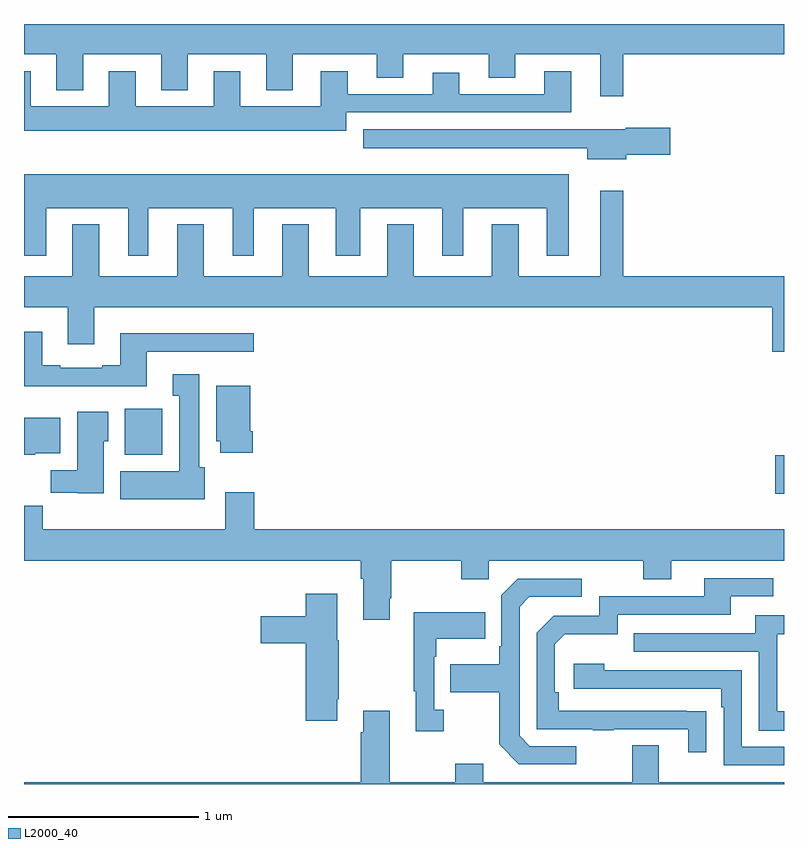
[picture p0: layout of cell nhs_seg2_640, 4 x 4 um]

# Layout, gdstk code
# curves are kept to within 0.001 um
import gdstk
lib = gdstk.Library(unit=1e-6, precision=1e-09)
def R(c, l, rs):  # rectangles x0, y0, x1, y1
    for r in rs: c.add(gdstk.rectangle(r[:2], r[2:], *l))
def P(c, l, *ps):  # polygons
    for p in ps: c.add(gdstk.Polygon(p, *l))
L2000_40 = (2000, 40)

nhs_seg2_640 = lib.new_cell('nhs_seg2_640')
R(nhs_seg2_640, L2000_40, [(146.953,641.328,147,641.531), (143.531,641.534,143.728,641.776)])
P(nhs_seg2_640, L2000_40, [(146.155,643.64),(147,643.64),(147,643.8),(143,643.8),(143,643.64),(143.171,643.64),(143.171,643.451),(143.311,643.451),(143.311,643.64),(143.723,643.64),(143.723,643.451),(143.863,643.451),(143.863,643.64),(144.275,643.64),(144.275,643.451),(144.415,643.451),(144.415,643.64),(144.857,643.64),(144.857,643.516),(144.997,643.516),(144.997,643.64),(145.445,643.64),(145.445,643.516),(145.585,643.516),(145.585,643.64),(146.033,643.64),(146.033,643.419),(146.155,643.419)],
  [(144.697,643.335),(145.879,643.335),(145.879,643.552),(145.739,643.552),(145.739,643.431),(145.291,643.431),(145.291,643.543),(145.151,643.543),(145.151,643.431),(144.703,643.431),(144.703,643.552),(144.563,643.552),(144.563,643.366),(144.139,643.366),(144.139,643.552),(143.999,643.552),(143.999,643.366),(143.587,643.366),(143.587,643.552),(143.447,643.552),(143.447,643.366),(143.035,643.366),(143.035,643.552),(143,643.552),(143,643.238),(144.697,643.238)],
  [(146.17,643.112),(146.401,643.112),(146.401,643.254),(146.166,643.254),(146.166,643.246),(144.786,643.246),(144.786,643.145),(145.964,643.145),(145.964,643.088),(146.17,643.088)],
  [(143.116,642.83),(143.549,642.83),(143.549,642.579),(143.653,642.579),(143.653,642.83),(144.098,642.83),(144.098,642.579),(144.208,642.579),(144.208,642.83),(144.641,642.83),(144.641,642.579),(144.769,642.579),(144.769,642.83),(145.202,642.83),(145.202,642.579),(145.312,642.579),(145.312,642.83),(145.751,642.83),(145.751,642.579),(145.867,642.579),(145.867,643.009),(143,643.009),(143,642.579),(143.116,642.579)],
  [(147,642.472),(146.155,642.472),(146.155,642.922),(146.033,642.922),(146.033,642.472),(145.603,642.472),(145.603,642.745),(145.463,642.745),(145.463,642.472),(145.051,642.472),(145.051,642.745),(144.911,642.745),(144.911,642.472),(144.499,642.472),(144.499,642.745),(144.359,642.745),(144.359,642.472),(143.947,642.472),(143.947,642.745),(143.807,642.745),(143.807,642.472),(143.395,642.472),(143.395,642.745),(143.255,642.745),(143.255,642.472),(143,642.472),(143,642.308),(143.231,642.308),(143.231,642.114),(143.371,642.114),(143.371,642.308),(146.939,642.308),(146.939,642.075),(147,642.075)],
  [(143.647,642.075),(144.208,642.075),(144.208,642.172),(143.507,642.172),(143.507,642.004),(143.411,642.004),(143.411,641.991),(143.191,641.991),(143.191,642.004),(143.095,642.004),(143.095,642.181),(143,642.181),(143,641.894),(143.647,641.894)],
  [(143.95,641.466),(143.923,641.466),(143.923,641.956),(143.783,641.956),(143.783,641.843),(143.816,641.843),(143.816,641.446),(143.507,641.446),(143.507,641.3),(143.95,641.3)],
  [(144.203,641.656),(144.19,641.656),(144.19,641.896),(144.011,641.896),(144.011,641.604),(144.032,641.604),(144.032,641.544),(144.203,641.544)],
  [(143.419,641.604),(143.443,641.604),(143.443,641.758),(143.279,641.758),(143.279,641.452),(143.14,641.452),(143.14,641.334),(143.283,641.334),(143.283,641.33),(143.419,641.33)],
  [(143.058,641.54),(143.191,641.54),(143.191,641.728),(143,641.728),(143,641.534),(143.058,641.534)],
  [(144.212,641.335),(144.059,641.335),(144.059,641.14),(143.099,641.14),(143.099,641.264),(143,641.264),(143,640.976),(144.773,640.976),(144.773,640.88),(144.785,640.88),(144.785,640.665),(144.925,640.665),(144.925,640.777),(144.933,640.777),(144.933,640.976),(145.3,640.976),(145.3,640.877),(145.446,640.877),(145.446,640.976),(146.26,640.976),(146.26,640.877),(146.407,640.877),(146.407,640.976),(147,640.976),(147,641.14),(144.212,641.14)],
  [(146.591,640.184),(145.814,640.185),(145.814,640.282),(145.794,640.282),(145.794,640.536),(145.847,640.589),(146.124,640.589),(146.124,640.692),(146.719,640.692),(146.719,640.788),(146.944,640.788),(146.944,640.884),(146.579,640.884),(146.579,640.788),(146.028,640.788),(146.028,640.686),(145.788,640.686),(145.698,640.596),(145.698,640.089),(145.993,640.089),(145.993,640.084),(146.105,640.084),(146.105,640.089),(146.495,640.089),(146.495,639.966),(146.591,639.966)],
  [(145.906,639.999),(145.662,639.999),(145.608,640.053),(145.608,640.734),(145.659,640.785),(145.936,640.785),(145.936,640.881),(145.599,640.881),(145.512,640.794),(145.512,640.525),(145.5,640.525),(145.5,640.429),(145.243,640.429),(145.243,640.282),(145.5,640.282),(145.5,640.009),(145.605,639.903),(145.906,639.903)],
  [(144.649,640.246),(144.657,640.246),(144.657,640.557),(144.649,640.557),(144.649,640.801),(144.482,640.801),(144.482,640.683),(144.246,640.683),(144.246,640.541),(144.482,640.541),(144.482,640.134),(144.649,640.134)],
  [(145.21,640.19),(145.158,640.19),(145.158,640.469),(145.171,640.469),(145.171,640.565),(145.427,640.565),(145.427,640.705),(145.05,640.705),(145.05,640.289),(145.061,640.289),(145.061,640.077),(145.21,640.077)],
  [(147,640.182),(146.964,640.182),(146.964,640.587),(147,640.587),(147,640.687),(146.849,640.687),(146.849,640.593),(146.209,640.593),(146.209,640.497),(146.868,640.497),(146.868,640.081),(147,640.081)],
  [(147,639.996),(146.778,639.996),(146.778,640.398),(146.054,640.398),(146.054,640.432),(145.893,640.432),(145.893,640.302),(146.669,640.302),(146.669,640.205),(146.682,640.205),(146.682,639.9),(147,639.9)],
  [(147,639.808),(146.341,639.808),(146.341,640.003),(146.201,640.003),(146.201,639.808),(145.417,639.808),(145.417,639.907),(145.27,639.907),(145.27,639.808),(144.925,639.808),(144.925,640.186),(144.785,640.186),(144.785,640.073),(144.773,640.073),(144.773,639.808),(143,639.808),(143,639.8),(147,639.8)])

lib.write_gds('nhs_seg2_640.gds')
